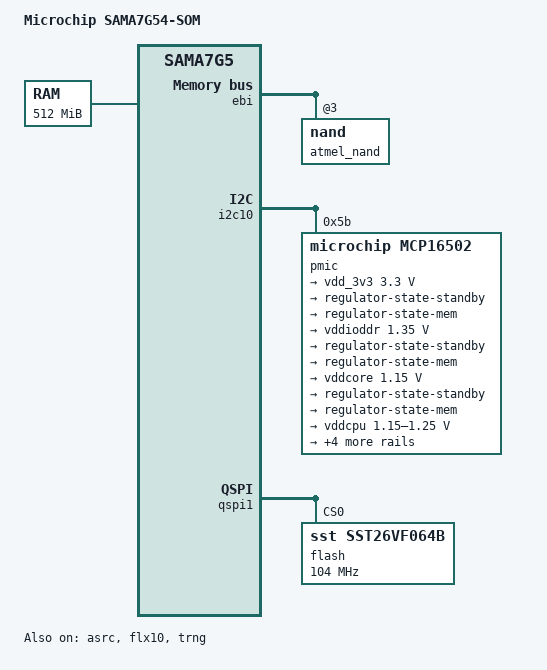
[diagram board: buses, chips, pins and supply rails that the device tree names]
// SPDX-License-Identifier: (GPL-2.0+ OR MIT)
/*
 *  sama7g54_som.dtsi - Device Tree Include file for SAMA7G54 SOM family
 *
 *  Copyright (C) 2025 Microchip Technology, Inc. and its subsidiaries
 *
 *  Author: Romain Sioen <romain.sioen@microchip.com>
 *
 */

#include "sama7g5-pinfunc.h"
#include "sama7g5.dtsi"
#include <dt-bindings/clock/at91.h>
#include <dt-bindings/dma/at91.h>
#include <dt-bindings/mfd/atmel-flexcom.h>
#include <dt-bindings/pinctrl/at91.h>

/ {
	model = "Microchip SAMA7G54-SOM";
	compatible = "microchip,sama7g5";

	/* 512 M */
	memory@60000000 {
		device_type = "memory";
		reg = <0x60000000 0x20000000>;
	};
};

&asrc {
	status = "okay";
};

&cpu0 {
	cpu-supply = <&vddcpu>;
};

&dma0 {
	status = "okay";
};

&dma1 {
	status = "okay";
};

&dma2 {
	status = "okay";
};

&ebi {
	pinctrl-names = "default";
	pinctrl-0 = <&pinctrl_nand_default &pinctrl_nand_rb>;
	status = "okay";

	nand_controller: nand-controller {
		status = "okay";

		nand@3 {
			reg = <0x3 0x0 0x800000>;
			atmel,rb = <0>;
			nand-bus-width = <8>;
			nand-ecc-mode = "hw";
			nand-ecc-strength = <8>;
			nand-ecc-step-size = <512>;
			nand-on-flash-bbt;
			label = "atmel_nand";
		};
	};
};

&flx10 {
	atmel,flexcom-mode = <ATMEL_FLEXCOM_MODE_TWI>;
	status = "okay";
};

&i2c10 {
	dmas = <0>, <0>;
	pinctrl-names = "default";
	pinctrl-0 = <&pinctrl_i2c10_default>;
	i2c-analog-filter;
	i2c-digital-filter;
	i2c-digital-filter-width-ns = <35>;
	status = "okay";

	pmic@5b {
		compatible = "microchip,mcp16502";
		reg = <0x5b>;

		regulators {
			vdd_3v3: VDD_IO {
				regulator-name = "VDD_IO";
				regulator-min-microvolt = <3300000>;
				regulator-max-microvolt = <3300000>;
				regulator-initial-mode = <2>;
				regulator-allowed-modes = <2>, <4>;
				regulator-always-on;

				regulator-state-standby {
					regulator-on-in-suspend;
					regulator-suspend-microvolt = <3300000>;
					regulator-mode = <4>;
				};

				regulator-state-mem {
					regulator-off-in-suspend;
					regulator-mode = <4>;
				};
			};

			vddioddr: VDD_DDR {
				regulator-name = "VDD_DDR";
				regulator-min-microvolt = <1350000>;
				regulator-max-microvolt = <1350000>;
				regulator-initial-mode = <2>;
				regulator-allowed-modes = <2>, <4>;
				regulator-always-on;

				regulator-state-standby {
					regulator-on-in-suspend;
					regulator-suspend-microvolt = <1350000>;
					regulator-mode = <4>;
				};

				regulator-state-mem {
					regulator-on-in-suspend;
					regulator-suspend-microvolt = <1350000>;
					regulator-mode = <4>;
				};
			};

			vddcore: VDD_CORE {
				regulator-name = "VDD_CORE";
				regulator-min-microvolt = <1150000>;
				regulator-max-microvolt = <1150000>;
				regulator-initial-mode = <2>;
				regulator-allowed-modes = <2>, <4>;
				regulator-always-on;

				regulator-state-standby {
					regulator-on-in-suspend;
					regulator-suspend-microvolt = <1150000>;
					regulator-mode = <4>;
				};

				regulator-state-mem {
					regulator-off-in-suspend;
					regulator-mode = <4>;
				};
			};

			vddcpu: VDD_OTHER {
				regulator-name = "VDD_OTHER";
				regulator-min-microvolt = <1150000>;
				regulator-max-microvolt = <1250000>;
				regulator-initial-mode = <2>;
				regulator-allowed-modes = <2>, <4>;
				regulator-ramp-delay = <3125>;
				regulator-always-on;

				regulator-state-standby {
					regulator-on-in-suspend;
					regulator-suspend-microvolt = <1150000>;
					regulator-mode = <4>;
				};

				regulator-state-mem {
					regulator-off-in-suspend;
					regulator-mode = <4>;
				};
			};

			vldo1: LDO1 {
				regulator-name = "LDO1";
				regulator-min-microvolt = <1200000>;
				regulator-max-microvolt = <3700000>;
				regulator-always-on;

				regulator-state-standby {
					regulator-suspend-microvolt = <1200000>;
					regulator-on-in-suspend;
				};

				regulator-state-mem {
					regulator-off-in-suspend;
				};
			};

			vldo2: LDO2 {
				regulator-name = "LDO2";
				regulator-min-microvolt = <1200000>;
				regulator-max-microvolt = <3700000>;
				regulator-always-on;

				regulator-state-standby {
					regulator-suspend-microvolt = <1200000>;
					regulator-on-in-suspend;
				};

				regulator-state-mem {
					regulator-off-in-suspend;
				};
			};
		};
	};
};

&main_xtal {
	clock-frequency = <24000000>;
};

&pioA {
	pinctrl_i2c10_default: i2c10-default {
		pinmux = <PIN_PC30__FLEXCOM10_IO0>,
			 <PIN_PC31__FLEXCOM10_IO1>;
		bias-disable;
	};

	pinctrl_nand_default: nand-default {
		pinmux = <PIN_PD9__D0>,
			 <PIN_PD10__D1>,
			 <PIN_PD11__D2>,
			 <PIN_PC21__D3>,
			 <PIN_PC22__D4>,
			 <PIN_PC23__D5>,
			 <PIN_PC24__D6>,
			 <PIN_PD2__D7>,
			 <PIN_PD4__NCS3_NANDCS>,
			 <PIN_PD5__NWE_NWR0_NANDWE>,
			 <PIN_PD6__NRD_NANDOE>,
			 <PIN_PD7__A21_NANDALE>,
			 <PIN_PD8__A22_NANDCLE>;
		slew-rate = <0>;
		atmel,drive-strength = <ATMEL_PIO_DRVSTR_ME>;
		bias-disable;
	};

	pinctrl_nand_rb: nand-rb {
		pinmux = <PIN_PD3__NANDRDY>;
		slew-rate = <0>;
		bias-pull-up;
	};

	pinctrl_qspi1_io3: qspi1-io3 {
		pinmux = <PIN_PB22__QSPI1_IO3>,
			 <PIN_PB23__QSPI1_IO2>;
		bias-pull-up;
		slew-rate = <0>;
		atmel,drive-strength = <ATMEL_PIO_DRVSTR_ME>;
	};

	pinctrl_qspi1: qspi1-default {
		pinmux = <PIN_PB24__QSPI1_IO1>,
			 <PIN_PB25__QSPI1_IO0>,
			 <PIN_PB26__QSPI1_CS>,
			 <PIN_PB27__QSPI1_SCK>;
		bias-disable;
		slew-rate = <0>;
		atmel,drive-strength = <ATMEL_PIO_DRVSTR_ME>;
	};
};

&qspi1 {
	pinctrl-names = "default";
	pinctrl-0 = <&pinctrl_qspi1 &pinctrl_qspi1_io3>;
	status = "okay";

		flash@0 {
			compatible = "sst,sst26vf064b", "jedec,spi-nor";
			#address-cells = <1>;
			#size-cells = <1>;
			reg = <0>;
			spi-max-frequency = <104000000>;
			spi-cs-setup-ns = /bits/ 16 <7>;
			spi-tx-bus-width = <4>;
			spi-rx-bus-width = <4>;
			m25p,fast-read;
		};
};

&slow_xtal {
	clock-frequency = <32768>;
};

&tcb0 {
	timer0: timer@0 {
		compatible = "atmel,tcb-timer";
		reg = <0>;
	};

	timer1: timer@1 {
		compatible = "atmel,tcb-timer";
		reg = <1>;
	};
};

&trng {
	status = "okay";
};
